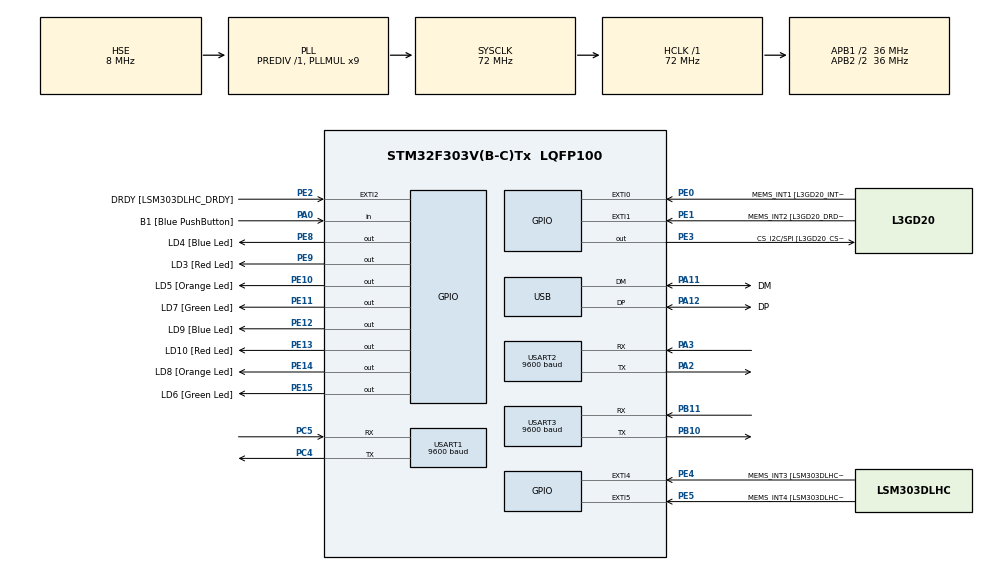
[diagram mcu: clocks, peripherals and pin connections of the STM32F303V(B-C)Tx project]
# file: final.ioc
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FREERTOS.Queues01=RecQ,32,2,NULL
FREERTOS.Tasks01=defaultTask,0,128,StartDefaultTask;U1RX,-1,256,Usart1Rx;U2RX,-1,256,Usart2Rx;USBTX,-1,256,UsbSend;U3TX,-2,128,Usart3Tx
FREERTOS.configTOTAL_HEAP_SIZE=9000
Mcu.Family=STM32F3
Mcu.Name=STM32F303V(B-C)Tx
Mcu.Package=LQFP100
NVIC.PriorityGroup=NVIC_PRIORITYGROUP_4
NVIC.USART1_IRQn=true\:5\:0\:false
NVIC.USART2_IRQn=true\:5\:0\:false
NVIC.USB_LP_CAN_RX0_IRQn=true\:5\:0\:false
PA0.GPIO_Label=B1 [Blue PushButton]
PA0.GPIO_Mode=GPIO_MODE_INPUT
PA0.GPIO_PuPd=GPIO_NOPULL
PA0.Signal=GPIO_Input
PA11.GPIO_Label=DM
PA11.GPIO_Mode=GPIO_MODE_AF_PP
PA11.GPIO_PuPd=GPIO_NOPULL
PA11.GPIO_Speed=GPIO_SPEED_LOW
PA11.Mode=Device
PA11.Signal=USB_DM
PA12.GPIO_Label=DP
PA12.GPIO_Mode=GPIO_MODE_AF_PP
PA12.GPIO_PuPd=GPIO_NOPULL
PA12.GPIO_Speed=GPIO_SPEED_LOW
PA12.Mode=Device
PA12.Signal=USB_DP
PA13.GPIO_Label=SWDIO
PA13.Mode=Trace-Asynchronous_SW
PA13.Signal=SYS_JTMS-SWDIO
PA14.GPIO_Label=SWCLK
PA14.Mode=Trace-Asynchronous_SW
PA14.Signal=SYS_JTCK-SWCLK
PA2.Mode=Asynchronous
PA2.Signal=USART2_TX
PA3.Mode=Asynchronous
PA3.Signal=USART2_RX
PA5.GPIO_Label=SPI1_SCK [L3GD20_SCL/SPC]
PA5.GPIO_Mode=GPIO_MODE_AF_PP
PA5.GPIO_PuPd=GPIO_NOPULL
PA5.GPIO_Speed=GPIO_SPEED_LOW
PA5.Signal=SPI1_SCK
PA6.GPIO_Label=SPI1_MISO [L3GD20_SA0/SDO]
PA6.GPIO_Mode=GPIO_MODE_AF_PP
PA6.GPIO_PuPd=GPIO_NOPULL
PA6.GPIO_Speed=GPIO_SPEED_LOW
PA6.Signal=SPI1_MISO
PA7.GPIO_Label=SPI1_MISO [L3GD20_SDA/SDI/SDO]
PA7.GPIO_Mode=GPIO_MODE_AF_PP
PA7.GPIO_PuPd=GPIO_NOPULL
PA7.GPIO_Speed=GPIO_SPEED_LOW
PA7.Signal=SPI1_MOSI
PB10.Mode=Asynchronous
PB10.Signal=USART3_TX
PB11.Mode=Asynchronous
PB11.Signal=USART3_RX
PB3.GPIO_Label=SWO
PB3.Mode=Trace-Asynchronous_SW
PB3.Signal=SYS_JTDO-TRACESWO
PB6.GPIO_FM6=__NULL
PB6.GPIO_Label=I2C1_SCL [LSM303DLHC_SCL]
PB6.GPIO_Mode=GPIO_MODE_AF_OD
PB6.GPIO_PuPd=GPIO_NOPULL
PB6.GPIO_PuPdOD=GPIO_PULLUP
PB6.GPIO_Speed=GPIO_SPEED_LOW
PB6.Signal=I2C1_SCL
PB7.GPIO_FM7=__NULL
PB7.GPIO_Label=I2C1_SDA [LSM303DLHC_SDA]
PB7.GPIO_Mode=GPIO_MODE_AF_OD
PB7.GPIO_PuPd=GPIO_NOPULL
PB7.GPIO_PuPdOD=GPIO_PULLUP
PB7.GPIO_Speed=GPIO_SPEED_LOW
PB7.Signal=I2C1_SDA
PC14-OSC32_IN.GPIO_Label=OSC32_IN
PC14-OSC32_IN.Signal=RCC_OSC32_IN
PC15-OSC32_OUT.GPIO_Label=OSC32_OUT
PC15-OSC32_OUT.Signal=RCC_OSC32_OUT
PC4.Mode=Asynchronous
PC4.Signal=USART1_TX
PC5.Mode=Asynchronous
PC5.Signal=USART1_RX
PE0.GPIO_Label=MEMS_INT1 [L3GD20_INT1]
PE0.GPIO_ModeDefaultEXTI=GPIO_MODE_EVT_RISING
PE0.GPIO_PuPd=GPIO_NOPULL
PE0.Signal=GPXTI0
PE1.GPIO_Label=MEMS_INT2 [L3GD20_DRDY/INT2]
PE1.GPIO_ModeDefaultEXTI=GPIO_MODE_EVT_RISING
PE1.GPIO_PuPd=GPIO_NOPULL
PE1.Signal=GPXTI1
PE10.GPIO_Label=LD5 [Orange Led]
PE10.GPIO_ModeDefaultOutputPP=GPIO_MODE_OUTPUT_PP
PE10.GPIO_PuPd=GPIO_NOPULL
PE10.GPIO_Speed=GPIO_SPEED_LOW
PE10.Signal=GPIO_Output
PE11.GPIO_Label=LD7 [Green Led]
PE11.GPIO_ModeDefaultOutputPP=GPIO_MODE_OUTPUT_PP
PE11.GPIO_PuPd=GPIO_NOPULL
PE11.GPIO_Speed=GPIO_SPEED_LOW
PE11.Signal=GPIO_Output
PE12.GPIO_Label=LD9 [Blue Led]
PE12.GPIO_ModeDefaultOutputPP=GPIO_MODE_OUTPUT_PP
PE12.GPIO_PuPd=GPIO_NOPULL
PE12.GPIO_Speed=GPIO_SPEED_LOW
PE12.Signal=GPIO_Output
PE13.GPIO_Label=LD10 [Red Led]
PE13.GPIO_ModeDefaultOutputPP=GPIO_MODE_OUTPUT_PP
PE13.GPIO_PuPd=GPIO_NOPULL
PE13.GPIO_Speed=GPIO_SPEED_LOW
PE13.Signal=GPIO_Output
PE14.GPIO_Label=LD8 [Orange Led]
PE14.GPIO_ModeDefaultOutputPP=GPIO_MODE_OUTPUT_PP
PE14.GPIO_PuPd=GPIO_NOPULL
PE14.GPIO_Speed=GPIO_SPEED_LOW
PE14.Signal=GPIO_Output
PE15.GPIO_Label=LD6 [Green Led]
PE15.GPIO_ModeDefaultOutputPP=GPIO_MODE_OUTPUT_PP
PE15.GPIO_PuPd=GPIO_NOPULL
PE15.GPIO_Speed=GPIO_SPEED_LOW
PE15.Signal=GPIO_Output
PE2.GPIO_Label=DRDY [LSM303DLHC_DRDY]
PE2.GPIO_ModeDefaultEXTI=GPIO_MODE_EVT_RISING
PE2.GPIO_PuPd=GPIO_NOPULL
PE2.Signal=GPXTI2
PE3.GPIO_Label=CS_I2C/SPI [L3GD20_CS_I2C/SPI]
PE3.GPIO_ModeDefaultOutputPP=GPIO_MODE_OUTPUT_PP
PE3.GPIO_PuPd=GPIO_NOPULL
PE3.GPIO_Speed=GPIO_SPEED_LOW
PE3.Signal=GPIO_Output
PE4.GPIO_Label=MEMS_INT3 [LSM303DLHC_INT1]
PE4.GPIO_ModeDefaultEXTI=GPIO_MODE_EVT_RISING
PE4.GPIO_PuPd=GPIO_NOPULL
PE4.Signal=GPXTI4
PE5.GPIO_Label=MEMS_INT4 [LSM303DLHC_INT2]
PE5.GPIO_ModeDefaultEXTI=GPIO_MODE_EVT_RISING
PE5.GPIO_PuPd=GPIO_NOPULL
PE5.Signal=GPXTI5
PE8.GPIO_Label=LD4 [Blue Led]
PE8.GPIO_ModeDefaultOutputPP=GPIO_MODE_OUTPUT_PP
PE8.GPIO_PuPd=GPIO_NOPULL
PE8.GPIO_Speed=GPIO_SPEED_LOW
PE8.Signal=GPIO_Output
PE9.GPIO_Label=LD3 [Red Led]
PE9.GPIO_ModeDefaultOutputPP=GPIO_MODE_OUTPUT_PP
PE9.GPIO_PuPd=GPIO_NOPULL
PE9.GPIO_Speed=GPIO_SPEED_LOW
PE9.Signal=GPIO_Output
PF0-OSC_IN.GPIO_Label=OSC_IN
PF0-OSC_IN.Mode=HSE-External-Oscillator
PF0-OSC_IN.Signal=RCC_OSC_IN
PF1-OSC_OUT.GPIO_Label=OSC_OUT
PF1-OSC_OUT.Mode=HSE-External-Oscillator
PF1-OSC_OUT.Signal=RCC_OSC_OUT
ProjectManager.TargetToolchain=MDK-ARM 4.73
RCC.AHBFreq_Value=72000000
RCC.APB1CLKDivider=RCC_HCLK_DIV2
RCC.APB1Freq_Value=36000000
RCC.APB1TimFreq_Value=72000000
RCC.APB2CLKDivider=RCC_HCLK_DIV2
RCC.APB2Freq_Value=36000000
RCC.APB2TimFreq_Value=72000000
RCC.CortexFreq_Value=9000000
RCC.HCLKFreq_Value=72000000
RCC.HSE_VALUE=8000000
RCC.HSIState=RCC_HSI_ON
RCC.HSI_VALUE=8000000
RCC.LSE_VALUE=32768
RCC.PLLMUL=RCC_PLL_MUL9
RCC.PRESCALERUSB=RCC_USBPLLCLK_DIV1_5
RCC.SYSCLKFreq_VALUE=72000000
RCC.SYSCLKSourceVirtual=RCC_SYSCLKSOURCE_PLLCLK
RCC.USBFreq_Value=48000000
USART1.AutoBaudRateEnableParam-Asynchronous=UART_ADVFEATURE_AUTOBAUDRATE_ENABLE
USART1.BaudRate=9600
USART2.AutoBaudRateEnableParam-Asynchronous=UART_ADVFEATURE_AUTOBAUDRATE_ENABLE
USART2.BaudRate=9600
USART3.AutoBaudRateEnableParam-Asynchronous=UART_ADVFEATURE_AUTOBAUDRATE_ENABLE
USART3.BaudRate=9600
USB_DEVICE.CLASS_NAME-CDC_FS=CDC
USB_DEVICE.USBD_HandleTypeDef-CDC_FS=hUsbDeviceFS
USB_DEVICE.VirtualMode-CDC_FS=Cdc
USB_DEVICE.VirtualModeFS-CDC_FS=Cdc_FS
VP_FREERTOS_VS_ENABLE.Mode=Enabled
VP_USB_DEVICE_VS_USB_DEVICE_CDC_FS.Mode=CDC_FS

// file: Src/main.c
/**
  ******************************************************************************
  * File Name          : main.c
  * Date               : 01/02/2015 19:28:08
  * Description        : Main program body
  ******************************************************************************
  *
  * COPYRIGHT(c) 2015 STMicroelectronics
  *
  * Redistribution and use in source and binary forms, with or without modification,
  * are permitted provided that the following conditions are met:
  *   1. Redistributions of source code must retain the above copyright notice,
  *      this list of conditions and the following disclaimer.
  *   2. Redistributions in binary form must reproduce the above copyright notice,
  *      this list of conditions and the following disclaimer in the documentation
  *      and/or other materials provided with the distribution.
  *   3. Neither the name of STMicroelectronics nor the names of its contributors
  *      may be used to endorse or promote products derived from this software
  *      without specific prior written permission.
  *
  * THIS SOFTWARE IS PROVIDED BY THE COPYRIGHT HOLDERS AND CONTRIBUTORS "AS IS"
  * AND ANY EXPRESS OR IMPLIED WARRANTIES, INCLUDING, BUT NOT LIMITED TO, THE
  * IMPLIED WARRANTIES OF MERCHANTABILITY AND FITNESS FOR A PARTICULAR PURPOSE ARE
  * DISCLAIMED. IN NO EVENT SHALL THE COPYRIGHT HOLDER OR CONTRIBUTORS BE LIABLE
  * FOR ANY DIRECT, INDIRECT, INCIDENTAL, SPECIAL, EXEMPLARY, OR CONSEQUENTIAL
  * DAMAGES (INCLUDING, BUT NOT LIMITED TO, PROCUREMENT OF SUBSTITUTE GOODS OR
  * SERVICES; LOSS OF USE, DATA, OR PROFITS; OR BUSINESS INTERRUPTION) HOWEVER
  * CAUSED AND ON ANY THEORY OF LIABILITY, WHETHER IN CONTRACT, STRICT LIABILITY,
  * OR TORT (INCLUDING NEGLIGENCE OR OTHERWISE) ARISING IN ANY WAY OUT OF THE USE
  * OF THIS SOFTWARE, EVEN IF ADVISED OF THE POSSIBILITY OF SUCH DAMAGE.
  *
  ******************************************************************************
  */

#include "stm32f3xx_hal.h"
#include "cmsis_os.h"
#include "usart.h"
#include "usb_device.h"
#include "gpio.h"

void SystemClock_Config(void);
void MX_FREERTOS_Init(void);

int main(void)
{

  /* MCU Configuration----------------------------------------------------------*/

  /* Reset of all peripherals, Initializes the Flash interface and the Systick. */
  HAL_Init();

  /* Configure the system clock */
  SystemClock_Config();

  /* Initialize all configured peripherals */
  MX_GPIO_Init();
  MX_USART1_UART_Init();
  MX_USART2_UART_Init();
  MX_USART3_UART_Init();

  /* Call init function for freertos objects (in freertos.c) */
  MX_FREERTOS_Init();

  /* Start scheduler */
  osKernelStart(NULL, NULL);

  /* We should never get here as control is now taken by the scheduler */

  while (1)
  {
  }

}

/** System Clock Configuration
*/
void SystemClock_Config(void)
{

  RCC_OscInitTypeDef RCC_OscInitStruct;
  RCC_ClkInitTypeDef RCC_ClkInitStruct;
  RCC_PeriphCLKInitTypeDef PeriphClkInit;

  RCC_OscInitStruct.OscillatorType = RCC_OSCILLATORTYPE_HSE;
  RCC_OscInitStruct.HSEState = RCC_HSE_ON;
  RCC_OscInitStruct.HSEPredivValue = RCC_HSE_PREDIV_DIV1;
  RCC_OscInitStruct.PLL.PLLState = RCC_PLL_ON;
  RCC_OscInitStruct.PLL.PLLSource = RCC_PLLSOURCE_HSE;
  RCC_OscInitStruct.PLL.PLLMUL = RCC_PLL_MUL9;
  HAL_RCC_OscConfig(&RCC_OscInitStruct);

  RCC_ClkInitStruct.ClockType = RCC_CLOCKTYPE_SYSCLK|RCC_CLOCKTYPE_PCLK1
                              |RCC_CLOCKTYPE_PCLK2;
  RCC_ClkInitStruct.SYSCLKSource = RCC_SYSCLKSOURCE_PLLCLK;
  RCC_ClkInitStruct.AHBCLKDivider = RCC_SYSCLK_DIV1;
  RCC_ClkInitStruct.APB1CLKDivider = RCC_HCLK_DIV2;
  RCC_ClkInitStruct.APB2CLKDivider = RCC_HCLK_DIV2;
  HAL_RCC_ClockConfig(&RCC_ClkInitStruct, FLASH_LATENCY_2);

  PeriphClkInit.PeriphClockSelection = RCC_PERIPHCLK_USB|RCC_PERIPHCLK_USART1
                              |RCC_PERIPHCLK_USART2|RCC_PERIPHCLK_USART3;
  PeriphClkInit.Usart1ClockSelection = RCC_USART1CLKSOURCE_PCLK2;
  PeriphClkInit.Usart2ClockSelection = RCC_USART2CLKSOURCE_PCLK1;
  PeriphClkInit.Usart3ClockSelection = RCC_USART3CLKSOURCE_PCLK1;
  PeriphClkInit.USBClockSelection = RCC_USBPLLCLK_DIV1_5;
  HAL_RCCEx_PeriphCLKConfig(&PeriphClkInit);

  __SYSCFG_CLK_ENABLE();

}

void StartDefaultTask(void const * argument)
{
  /* init code for USB_DEVICE */
  MX_USB_DEVICE_Init();

  /* USER CODE BEGIN 5 */

  /* Infinite loop */
  for(;;)
  {
		HAL_GPIO_TogglePin(GPIOE, GPIO_PIN_8);
    osDelay(500);
  }

  /* USER CODE END 5 */

}

/************************ (C) COPYRIGHT STMicroelectronics *****END OF FILE****/

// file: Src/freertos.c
/**
  ******************************************************************************
  * File Name          : freertos.c
  * Date               : 01/02/2015 19:28:06
  * Description        : Code for freertos applications
  ******************************************************************************
  *
  * COPYRIGHT(c) 2015 STMicroelectronics
  *
  * Redistribution and use in source and binary forms, with or without modification,
  * are permitted provided that the following conditions are met:
  *   1. Redistributions of source code must retain the above copyright notice,
  *      this list of conditions and the following disclaimer.
  *   2. Redistributions in binary form must reproduce the above copyright notice,
  *      this list of conditions and the following disclaimer in the documentation
  *      and/or other materials provided with the distribution.
  *   3. Neither the name of STMicroelectronics nor the names of its contributors
  *      may be used to endorse or promote products derived from this software
  *      without specific prior written permission.
  *
  * THIS SOFTWARE IS PROVIDED BY THE COPYRIGHT HOLDERS AND CONTRIBUTORS "AS IS"
  * AND ANY EXPRESS OR IMPLIED WARRANTIES, INCLUDING, BUT NOT LIMITED TO, THE
  * IMPLIED WARRANTIES OF MERCHANTABILITY AND FITNESS FOR A PARTICULAR PURPOSE ARE
  * DISCLAIMED. IN NO EVENT SHALL THE COPYRIGHT HOLDER OR CONTRIBUTORS BE LIABLE
  * FOR ANY DIRECT, INDIRECT, INCIDENTAL, SPECIAL, EXEMPLARY, OR CONSEQUENTIAL
  * DAMAGES (INCLUDING, BUT NOT LIMITED TO, PROCUREMENT OF SUBSTITUTE GOODS OR
  * SERVICES; LOSS OF USE, DATA, OR PROFITS; OR BUSINESS INTERRUPTION) HOWEVER
  * CAUSED AND ON ANY THEORY OF LIABILITY, WHETHER IN CONTRACT, STRICT LIABILITY,
  * OR TORT (INCLUDING NEGLIGENCE OR OTHERWISE) ARISING IN ANY WAY OUT OF THE USE
  * OF THIS SOFTWARE, EVEN IF ADVISED OF THE POSSIBILITY OF SUCH DAMAGE.
  *
  ******************************************************************************
  */

#include "FreeRTOS.h"
#include "task.h"
#include "cmsis_os.h"
#include "usart.h"
#include "usbd_cdc_if.h"
#include "usb_device.h"

osThreadId defaultTaskHandle;
osThreadId U1RXHandle;
osThreadId U2RXHandle;
osThreadId USBTXHandle;
osThreadId U3TXHandle;
osMessageQId RecQHandle;

void StartDefaultTask(void const * argument);
void Usart1Rx(void const * argument);
void Usart2Rx(void const * argument);
void UsbSend(void const * argument);
void Usart3Tx(void const * argument);

/* USER CODE BEGIN FunctionPrototypes */

uint8_t b1;
uint8_t b2;

typedef struct {
	uint8_t usart;
	uint8_t byte;
} myMes;

void HAL_UART_RxCpltCallback(UART_HandleTypeDef *UartHandle)
{
	myMes m;
	HAL_GPIO_TogglePin(GPIOE, GPIO_PIN_14);
	switch((uint32_t)UartHandle->Instance)
	{
		case (uint32_t)USART1:
			HAL_GPIO_TogglePin(GPIOE, GPIO_PIN_10);
		  m.usart=1;
		  m.byte=b1;
		  xQueueSend( RecQHandle, &m, portMAX_DELAY  );
		  // Do this need?
      //HAL_UART_Receive_IT(&huart1, &b1,1);
		  break;
		case (uint32_t)USART2:
			HAL_GPIO_TogglePin(GPIOE, GPIO_PIN_12);
		  m.usart=2;
		  m.byte=b2;
		  xQueueSend( RecQHandle, &m, portMAX_DELAY  );
		  HAL_UART_Receive_IT(&huart2, &b2,1);
			break;
	}
}

/* USER CODE END FunctionPrototypes */
/* Hook prototypes */

/* Init FreeRTOS */

void MX_FREERTOS_Init() {

  /* Create the thread(s) */
  /* definition and creation of defaultTask */
  osThreadDef(defaultTask, StartDefaultTask, osPriorityNormal, 0, 128);
  defaultTaskHandle = osThreadCreate(osThread(defaultTask), NULL);

  /* definition and creation of U1RX */
  osThreadDef(U1RX, Usart1Rx, osPriorityBelowNormal, 0, 256);
  U1RXHandle = osThreadCreate(osThread(U1RX), NULL);

  /* definition and creation of U2RX */
  osThreadDef(U2RX, Usart2Rx, osPriorityBelowNormal, 0, 256);
  U2RXHandle = osThreadCreate(osThread(U2RX), NULL);

  /* definition and creation of USBTX */
  osThreadDef(USBTX, UsbSend, osPriorityBelowNormal, 0, 256);
  USBTXHandle = osThreadCreate(osThread(USBTX), NULL);

  /* definition and creation of U3TX */
  osThreadDef(U3TX, Usart3Tx, osPriorityAboveNormal, 0, 128);
  U3TXHandle = osThreadCreate(osThread(U3TX), NULL);

  /* Create the queue(s) */
  /* definition and creation of RecQ */
  osMessageQDef(RecQ, 32, 2);
  RecQHandle = osMessageCreate(osMessageQ(RecQ), NULL);

}

/* Usart1Rx function */
void Usart1Rx(void const * argument)
{
  /* USER CODE BEGIN Usart1Rx */
  /* Infinite loop */
  for(;;)
  {
		if(HAL_UART_Receive_IT(&huart1, &b1,1)==HAL_OK)
		{
			HAL_GPIO_TogglePin(GPIOE, GPIO_PIN_9);
		}
	osDelay(1); // which one is better? check youself!
  //taskYIELD();

  }
  /* USER CODE END Usart1Rx */
}

/* Usart2Rx function */
void Usart2Rx(void const * argument)
{
  /* USER CODE BEGIN Usart2Rx */
  /* Infinite loop */

  for(;;)
  {
		if(HAL_UART_Receive_IT(&huart2, &b2,1)==HAL_OK)
		{
			HAL_GPIO_TogglePin(GPIOE, GPIO_PIN_11);
		}
	 osDelay(1); // the same question
	//taskYIELD();
	//or may be set wait for semafore here? try it!

  }

  /* USER CODE END Usart2Rx */
}

/* UsbSend function */

void UsbSend(void const * argument)
{
  /* USER CODE BEGIN UsbSend */
  /* Infinite loop */
	myMes w;
	uint8_t scr[82]; // screen buffer
	uint8_t buf[18];
	uint8_t t1[18]; // temp buffer
	uint8_t t2[18*3];
	uint8_t oldusart=0;
	uint8_t char_count=0;
	uint8_t newline=0;

  for(;;)
  {
		xQueueReceive( RecQHandle, &w, portMAX_DELAY );

		if(oldusart!=w.usart || char_count>16)
			{
				oldusart=w.usart;
				newline=1;
				char_count=0;
			}
		buf[char_count++]=w.byte;

		if(hUsbDeviceFS.dev_state==USBD_STATE_CONFIGURED)
		{
			HAL_GPIO_TogglePin(GPIOE, GPIO_PIN_13);
			t1[0]=0;
			t2[0]=0;
			scr[0]=0;

			if(newline==1)
			{
				newline=0;
				sprintf((char *) &scr[0],"\n\rU%d ",w.usart);
			}
			else
			{
				sprintf((char *) &scr[0],"\rU%d ",w.usart);
			}

			// now print 16 bytes

			for(int i=0;i<char_count;i++)
				{
					if(buf[i]>0x1f && buf[i]<0x7f)
					{
						sprintf((char *) &t2[0],"%c",buf[i]);
					}
					else
					{
						sprintf((char *) &t2[0],".");
					}
					strcat((char *)&t1[0],(char *)&t2[0]);
				}
			//padding
			for(int i=char_count-1;i<16;i++)
				{
					sprintf((char *) &t2[0]," ");
					strcat((char *)&t1[0],(char *)&t2[0]);
				}
			strcat((char *) &scr[0],(char *)&t1[0]);

			// and hex
			t2[0]=0;
			for(int i=0;i<char_count;i++)
				{
					sprintf((char *) &t1[0]," %02X",buf[i]);
					strcat((char *)&t2[0],(char *)&t1[0]);
				}
			strcat((char *) &scr[0],(char *)&t2[0]);
// Do you want some debug output?
//			sprintf((char *) &t1[0]," %d",char_count);
//			strcat((char *) &scr[0],(char *)&t1[0]);
			CDC_Transmit_FS(&scr[0],strlen((char *)&scr[0]));
			osDelay(5);
		}
  }
  /* USER CODE END UsbSend */
}

/* Usart3Tx function */
void Usart3Tx(void const * argument)
{
  /* USER CODE BEGIN Usart3Tx */
  /* Infinite loop */
  for(;;)
  {
		// Wall-e: Eeeee... va?
		uint8_t walle[]="Eeeee... va?\r\n";
		// Short Circuit: Johny Five is Alive!
		uint8_t johny[]="Johny Five is Alive! \r\n";
		// StarWars
		uint8_t c3po[]="Sir, the possibility of successfully navigating an asteroid field is approximately 3,720 to 1 \r\n";
		HAL_UART_Transmit(&huart3,(uint8_t *)&walle,15,16); //PB10
		HAL_UART_Transmit(&huart2,(uint8_t *)&johny,23,100); //PA2
		HAL_UART_Transmit(&huart1,(uint8_t *)&c3po,97,100);  //PC4
    osDelay(1000);
		HAL_GPIO_TogglePin(GPIOE, GPIO_PIN_15);
  }
  /* USER CODE END Usart3Tx */
}

/************************ (C) COPYRIGHT STMicroelectronics *****END OF FILE****/
